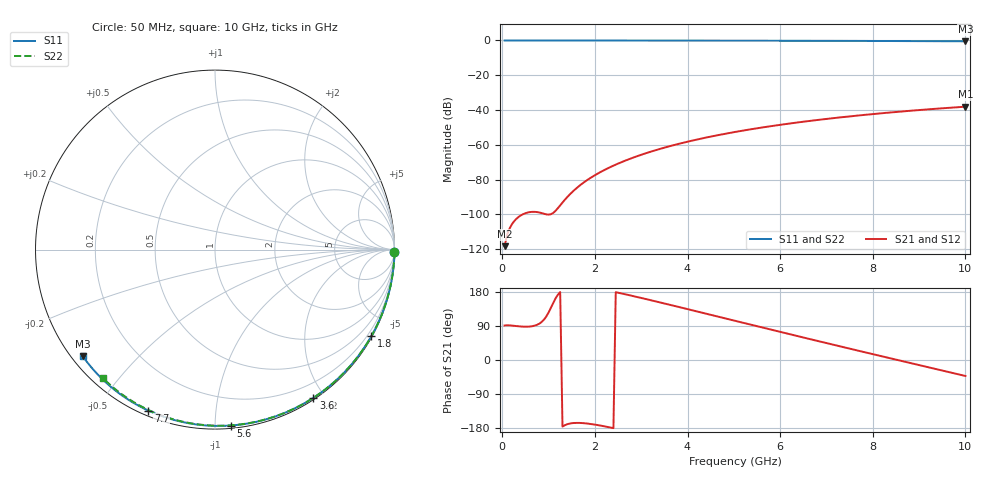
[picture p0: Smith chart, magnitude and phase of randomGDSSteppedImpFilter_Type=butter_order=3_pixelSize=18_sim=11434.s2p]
! freq	dB(S11)	phase(S11)	dB(S12)	phase(S12)
!  dB(S21)	phase(S21)	dB(S22)	phase(S22)
!S-par simulation data
#  GHz  S  DB  R 50
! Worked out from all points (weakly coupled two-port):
!   200 points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, 50 MHz to 10 GHz, reference 50 ohm
!   highest |S21| = -38.09 dB at 10 GHz (marker M1); lowest = -118.3 dB at 50 MHz (marker M2)
!   lowest |S11| = -0.5 dB at 10 GHz (marker M3), VSWR 36.25, Z = 1.55 - j17.6 ohm
!   |S11| at or under -10 dB: nowhere
!   |S22| runs from -0.4 to 0.0 dB; largest |S21 - S12| = 0
!   S11 on the Smith chart (normalised r, x): 50 MHz: open; 1.8 GHz: 0.03, -3.88; 3.6 GHz: 0.02, -1.86; 5.6 GHz: 0.02, -1.09; 7.7 GHz: 0.02, -0.67; 10 GHz: 0.03, -0.35
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0.05  -0.00 -0.8  -118.30 91.1  -118.30 91.1  -0.00 -0.8
0.45  -0.01 -7.3  -99.89 88.0  -99.89 88.0  -0.01 -6.8
0.9  -0.02 -14.6  -99.66 106.5  -99.66 106.5  -0.02 -13.6
1.75  -0.04 -28.1  -81.84 -166.7  -81.84 -166.7  -0.03 -26.2
1.8  -0.04 -28.9  -80.89 -167.2  -80.89 -167.2  -0.03 -26.9
1.85  -0.04 -29.7  -79.99 -167.9  -79.99 -167.9  -0.04 -27.6
2  -0.04 -32.1  -77.49 -170.5  -77.49 -170.5  -0.04 -29.8
2.15  -0.04 -34.4  -75.25 -173.7  -75.25 -173.7  -0.04 -32.0
2.35  -0.05 -37.5  -72.60 -178.5  -72.60 -178.5  -0.04 -34.9
2.55  -0.05 -40.6  -70.24 176.3  -70.24 176.3  -0.05 -37.8
2.95  -0.06 -46.7  -66.19 165.2  -66.19 165.2  -0.06 -43.5
3.4  -0.07 -53.5  -62.40 152.1  -62.40 152.1  -0.07 -49.8
3.6  -0.08 -56.5  -60.91 146.2  -60.91 146.2  -0.07 -52.6
4.3  -0.09 -66.7  -56.41 125.3  -56.41 125.3  -0.09 -62.1
5.05  -0.12 -77.3  -52.51 102.7  -52.51 102.7  -0.11 -72.1
5.6  -0.14 -84.9  -50.09 86.2  -50.09 86.2  -0.13 -79.2
6.15  -0.16 -92.4  -47.96 69.8  -47.96 69.8  -0.15 -86.1
6.7  -0.19 -99.6  -46.07 53.5  -46.07 53.5  -0.18 -92.9
7.7  -0.26 -112.5  -43.12 24.1  -43.12 24.1  -0.24 -104.9
8.35  -0.31 -120.7  -41.48 5.3  -41.48 5.3  -0.29 -112.5
9.2  -0.39 -131.3  -39.60 -19.2  -39.60 -19.2  -0.36 -122.2
10  -0.48 -141.3  -38.09 -42.1  -38.09 -42.1  -0.45 -131.2
